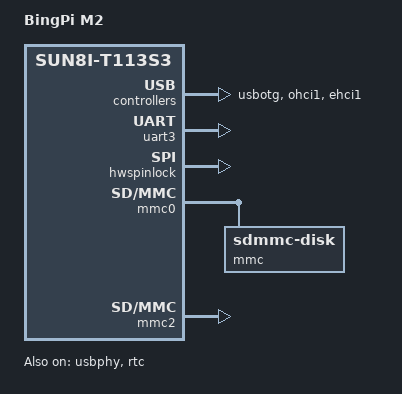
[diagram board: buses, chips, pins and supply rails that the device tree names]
/*
 * Copyright (c) 2026 jeck chen <baidxi404629@gmail.com>
 *
 * SPDX-License-Identifier: Apache-2.0
 */

/dts-v1/;

#include <arm/armv7-a.dtsi>
#include <allwinner/sun8i-t113s3.dtsi>

/ {
	model = "BingPi M2";
	compatible = "bingpi,m2", "allwinner,sun8i-t113s3";

	chosen {
		zephyr,console = &uart3;
		zephyr,shell-uart = &uart3;
		zephyr,sram = &ddr0;
	};
};

&usbphy {
	dr-mode = "otg";
	status = "okay";
};

zephyr_udc0:&usbotg {
	status = "okay";
	cdc_acm_uart0: cdc_acm_uart0 {
		compatible = "zephyr,cdc-acm-uart";
		label = "USB CDC ACM";
		tx-fifo-size = <4096>;
		rx-fifo-size = <4096>;
	};
};

&gpiob { 
	status = "okay";
};

&gpioe { 
	status = "okay";
};

&gpiof { 
	status = "okay";
};

&gpiog { 
	status = "okay";
};

&pio {
    status = "okay";
    default_state {
        uart3_pins: uart3-pins {
            /* PB6/PB7 uart3 -> SELECT 7 (per-pin) */
            pinmux = <SUNXI_PINMUX(PB6, SUN8I_FUNC_UART3)>,
                     <SUNXI_PINMUX(PB7, SUN8I_FUNC_UART3)>;
        };
    };
};

&uart3 {
    pinctrl-0 = <&uart3_pins>;
    pinctrl-names = "default";
    status = "okay";
};

&dma {
	status = "okay";
};

&rtc {
    status = "okay";
};

&hwspinlock { 
	status = "okay"; 
};

&ohci1 {
	status = "okay";
};

&ehci1 {
	status = "okay";
};

&mmc0 {
	status = "okay";

	mmc {
		compatible = "zephyr,sdmmc-disk";
		disk-name = "SD";
		status = "okay";
	};
};

&mmc2 {
	status = "okay";
};
